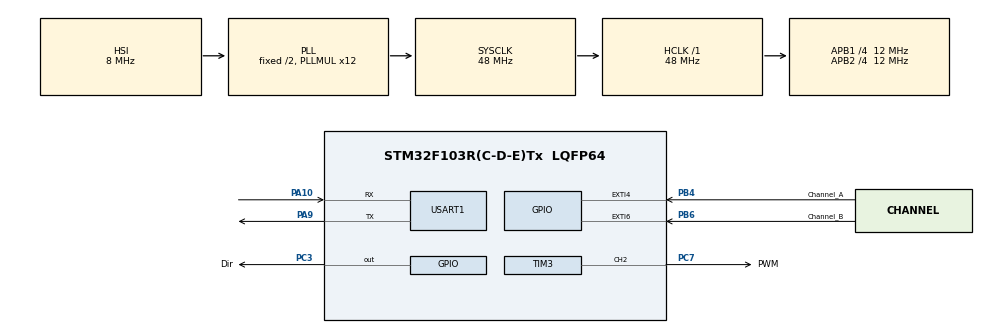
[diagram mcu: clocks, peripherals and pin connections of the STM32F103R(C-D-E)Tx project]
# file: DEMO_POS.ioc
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Mcu.Family=STM32F1
Mcu.Name=STM32F103R(C-D-E)Tx
Mcu.Package=LQFP64
NVIC.EXTI4_IRQn=true\:0\:0\:false\:false\:true\:true\:true\:true
NVIC.EXTI9_5_IRQn=true\:0\:0\:false\:false\:true\:true\:true\:true
NVIC.PriorityGroup=NVIC_PRIORITYGROUP_4
NVIC.TIM4_IRQn=true\:0\:0\:false\:false\:true\:true\:true\:true
NVIC.TIM5_IRQn=true\:0\:0\:false\:false\:true\:true\:true\:true
NVIC.USART1_IRQn=true\:0\:0\:false\:false\:true\:true\:true\:true
PA10.Mode=Asynchronous
PA10.Signal=USART1_RX
PA13.Mode=Serial_Wire
PA13.Signal=SYS_JTMS-SWDIO
PA14.Mode=Serial_Wire
PA14.Signal=SYS_JTCK-SWCLK
PA9.Mode=Asynchronous
PA9.Signal=USART1_TX
PB4.GPIO_Label=Channel_A
PB4.GPIO_ModeDefaultEXTI=GPIO_MODE_IT_RISING_FALLING
PB4.GPIO_PuPd=GPIO_PULLUP
PB4.Signal=GPXTI4
PB6.GPIO_Label=Channel_B
PB6.GPIO_ModeDefaultEXTI=GPIO_MODE_IT_RISING_FALLING
PB6.GPIO_PuPd=GPIO_PULLUP
PB6.Signal=GPXTI6
PC3.GPIO_Label=Dir
PC3.Signal=GPIO_Output
PC7.GPIO_Label=PWM
PC7.Signal=S_TIM3_CH2
ProjectManager.HeapSize=0x200
ProjectManager.StackSize=0x400
ProjectManager.TargetToolchain=MDK-ARM V5.32
RCC.AHBFreq_Value=48000000
RCC.APB1CLKDivider=RCC_HCLK_DIV4
RCC.APB1Freq_Value=12000000
RCC.APB1TimFreq_Value=24000000
RCC.APB2CLKDivider=RCC_HCLK_DIV4
RCC.APB2Freq_Value=12000000
RCC.APB2TimFreq_Value=24000000
RCC.HCLKFreq_Value=48000000
RCC.PLLMUL=RCC_PLL_MUL12
RCC.SYSCLKFreq_VALUE=48000000
RCC.SYSCLKSource=RCC_SYSCLKSOURCE_PLLCLK
RCC.USBFreq_Value=48000000
SH.S_TIM3_CH2.0=TIM3_CH2,PWM Generation2 CH2
TIM3.Channel-PWM\ Generation2\ CH2=TIM_CHANNEL_2
TIM3.Period=100
TIM3.Prescaler=11
TIM4.Period=4
TIM4.Prescaler=23999
TIM5.Period=9
TIM5.Prescaler=23999
USART1.VirtualMode=VM_ASYNC
VP_TIM4_VS_ClockSourceINT.Mode=Internal
VP_TIM5_VS_ClockSourceINT.Mode=Internal
board=custom

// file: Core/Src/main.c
/* USER CODE BEGIN Header */
/**
  ******************************************************************************
  * @file           : main.c
  * @brief          : Main program body
  ******************************************************************************
  * @attention
  *
  * Copyright (c) 2023 STMicroelectronics.
  * All rights reserved.
  *
  * This software is licensed under terms that can be found in the LICENSE file
  * in the root directory of this software component.
  * If no LICENSE file comes with this software, it is provided AS-IS.
  *
  ******************************************************************************
  */
/* USER CODE END Header */
#include "main.h"

/* USER CODE BEGIN Includes */
#include <stdio.h>
#include <string.h>
#include <stdlib.h>
#include <stdbool.h>
/* USER CODE END Includes */

/* USER CODE BEGIN PD */
#define pi 3.1415
#define p2r pi/1000
#define PULSE_PER_ROUND 500
/* USER CODE END PD */

TIM_HandleTypeDef htim3;
TIM_HandleTypeDef htim4;
TIM_HandleTypeDef htim5;

UART_HandleTypeDef huart1;

/* USER CODE BEGIN PV */
int32_t PosCnt,Cnttmp,speed;
int16_t CountValue=0,RealVel,DesiredSpeed, pwm;
uint16_t AngPos1, AngPos0,CntVel;
uint8_t PreviousState,Speedmode,tick_tim4=0, tick_tim5=0, dir;
bool run = false;
float CurPos=0,DesiredPos,CurVel, DesiredVel, DesiredLength, CurLength;
char Rx_indx, Rx_Buffer[20],Rx_data[2];

// PID parameter //
const float Kp = 19.811;
const float Ki = 0;
const float Kb = 0;
const float Kd = 0.64627;
const float alpha = 0.1; //He so loc khau D
const float Ts = 0.005;
const int16_t HILIM = 20;
const int16_t LOLIM = 0;
/* USER CODE END PV */

void SystemClock_Config(void);
static void MX_GPIO_Init(void);
static void MX_TIM3_Init(void);
static void MX_TIM4_Init(void);
static void MX_TIM5_Init(void);
static void MX_USART1_UART_Init(void);
/* USER CODE BEGIN PFP */
int16_t PID_Controller(float desired_value, float current_value);
void Run_Motor(void);
/* USER CODE END PFP */

/* USER CODE BEGIN 0 */
/*----------------------------------- UART1 -----------------------------------*/
struct __FILE
{
	int handle;
	/* Whatever you require here. If the only file you are using is */
  /* standard output using printf() for debugging, no file handling */
  /* is required. */
};

int fputc(int ch, FILE*f)
{
	char tempch = ch;

	HAL_UART_Transmit(&huart1, (uint8_t*)&tempch, 1, 100);
	return ch;
}

void HAL_UART_RxCpltCallback(UART_HandleTypeDef *huart)
{
	uint8_t i;
	if(huart->Instance == USART1) //uart1
		{
			if(Rx_indx==0)
				for (i=0;i<20;i++) Rx_Buffer[i] = 0;

			switch(Rx_data[0])
			{
				/* dung dong co */
				case 'e':
					run = false;
					break;

        /* dong co chay */
        case 'r':
          run = true;
          break;
        case 'b':
  				//reset();
					break;
        case 's':
          //DesiredPos = atoi(Rx_Buffer);
					DesiredLength = atoi(Rx_Buffer);
					DesiredLength = -DesiredLength;
					DesiredPos = DesiredLength*2*pi/10; //DesiredLength*2*pi/10;
          memset(Rx_Buffer, 0, sizeof(Rx_Buffer));
          Rx_indx = 0;
          break;
        case 'v':
          DesiredSpeed = atoi(Rx_Buffer);
					DesiredVel = DesiredSpeed * pi/30; //rad/s
          memset(Rx_Buffer, 0, sizeof(Rx_Buffer));
          Rx_indx = 0;
          break;
        case '0':
        case '1':
        case '2':
        case '3':
        case '4':
        case '5':
        case '6':
        case '7':
        case '8':
        case '9':
        case '.':
        case '-':
					Rx_Buffer[Rx_indx++] |= Rx_data[0];
					break;
				default:
					break;
			}
			HAL_UART_Receive_IT(&huart1,(uint8_t*)Rx_data,1);
		}
}
/*------------------------------- KET THUC UART1 -------------------------------*/
void HAL_GPIO_EXTI_Callbaack(uint16_t GPIO_Pin){}
/*--------------------------- NGAT NGOAI HAI KENH A B --------------------------*/
void HAL_GPIO_EXTI_Callback(uint16_t GPIO_Pin)
{
	if (GPIO_Pin == Channel_B_Pin)
	{
		unsigned char State0;
		State0 = (State0<<1) | HAL_GPIO_ReadPin(Channel_A_GPIO_Port, Channel_A_Pin);
		State0= (State0<<1) | HAL_GPIO_ReadPin(Channel_B_GPIO_Port, Channel_B_Pin);
		State0 = State0&0x03;
		switch (State0) {
			case 0:
				if(PreviousState==1) CountValue++;
				else CountValue--;
			break;
			case 1:
				if(PreviousState==3) CountValue++;
				else CountValue--;
			break;
			case 2:
				if(PreviousState==0) CountValue++;
				else CountValue--;
			break;
			case 3:
				if(PreviousState==2) CountValue++;
				else CountValue--;
			break;
			}
		PreviousState = State0;
		CntVel++;
		if (CountValue>=2000) {
			CountValue = 0;
			PosCnt++;
		}
		else if	(CountValue<=-2000) {
			CountValue = 0;
			PosCnt--;
		}
	}
	if (GPIO_Pin == Channel_A_Pin)
	{
		unsigned char State1;
		State1 = (State1<<1) | HAL_GPIO_ReadPin(Channel_A_GPIO_Port, Channel_A_Pin);
		State1 = (State1<<1) | HAL_GPIO_ReadPin(Channel_B_GPIO_Port, Channel_B_Pin);
		State1 = State1&0x03;
		switch (State1) {
			case 0:
				if(PreviousState==1) CountValue++;
				else CountValue--;
			break;
			case 1:
				if(PreviousState==3) CountValue++;
				else CountValue--;
			break;
			case 2:
				if(PreviousState==0) CountValue++;
				else CountValue--;
			break;
			case 3:
				if(PreviousState==2) CountValue++;
				else CountValue--;
			break;
			}
		PreviousState = State1;
		CntVel++;
		if (CountValue>=2000) {
			CountValue = 0;
			PosCnt++;
		}
		else if	(CountValue<=-2000) {
			CountValue = 0;
			PosCnt--;
		}
	}
}
/*---------------------- KET THUC NGAT NGOAI HAI KENH A B ----------------------*/

/*----------------------- TIMER4 - VAN TOC, VI TRI, PD CONTROLLER ------------------------*/
void HAL_TIM_PeriodElapsedCallback(TIM_HandleTypeDef *htim)
{
	if (htim->Instance == TIM4) //Interrupt 5ms
	{
			CurPos = PosCnt*2*pi+CountValue*p2r;	// Position calculation
			CurLength = 10*CurPos/(2*pi); //10*CurPos/(2*pi);
			Cnttmp = CntVel;
			CntVel = 0;
			RealVel = (Cnttmp*60)/(4*PULSE_PER_ROUND*Ts); //RPM
			CurVel = (Cnttmp*2*pi)/(4*PULSE_PER_ROUND*Ts); //rad/s

			if (run == true) {
//				HAL_GPIO_WritePin(Dir_GPIO_Port, Dir_Pin, GPIO_PIN_SET);
//				__HAL_TIM_SetCompare(&htim3, TIM_CHANNEL_2, pwm);
				pwm = PID_Controller(DesiredPos, CurPos);
				Run_Motor();
			}
			else
				__HAL_TIM_SetCompare(&htim3, TIM_CHANNEL_2, 0);
	}
	if (htim->Instance == TIM5) //Interrupt 10ms
	{
			tick_tim5++;
			if ((run == 1)&&(tick_tim5 == 5))
			{
				tick_tim5 = 0;
				//printf("V%d\r \n",RealVel);
				//printf("P%f\r \n",CurPos);
				printf("P%f\r \n",-CurLength);
			}
	}
}

void Run_Motor(void)
{
	if (dir == 1) //Chieu thuan
	{
		HAL_GPIO_WritePin(Dir_GPIO_Port, Dir_Pin, GPIO_PIN_SET);
		__HAL_TIM_SetCompare(&htim3, TIM_CHANNEL_2, pwm);
	}
	else if (dir == 2) //Chieu nghich
	{
		HAL_GPIO_WritePin(Dir_GPIO_Port, Dir_Pin, GPIO_PIN_RESET);
		__HAL_TIM_SetCompare(&htim3, TIM_CHANNEL_2, pwm);
	}
	else if (dir == 0) //Dung
		__HAL_TIM_SetCompare(&htim3, TIM_CHANNEL_2, 0);
}

int16_t PID_Controller(float desired_value, float current_value)
{
	static float e_reset;
	static float u_i_pre;
	static float u_df_pre;
	static float ek_pre;

	float ek;
	float u_p, u_i, u_k, u_d, u_df;
	int16_t u_out;

	//Tinh sai so
	ek = desired_value - current_value;

	if (ek > 0)
	{
		dir = 1; //Chieu thuan
	}
	else if (ek < 0)
	{
		dir = 2; //Chieu nghich
		ek = -ek;
	}
	else
		dir = 0; //Stop

	//Khau P
	u_p = Kp*ek;

	//Khau I
	u_i = u_i_pre + Ki*Ts*ek + Kb*Ts*e_reset;
	u_i_pre = u_i;

	//Khau D
	u_d = Kd*(ek-ek_pre)/Ts;
	ek_pre = ek;
	u_df = (1-alpha)*u_df_pre + alpha*u_d;
	u_df_pre = u_df;

	//PID Controller
	u_k = u_p + u_i + u_df;

	if (u_k > HILIM) {
		u_out = HILIM;
		e_reset = u_out - u_k;
	}
	else if (u_k < LOLIM) {
		u_out = LOLIM;
		e_reset = u_out - u_k;
	}
	else {
		u_out = (int16_t)u_k;
		e_reset = 0;
	}

	return u_out;
}

/*------------------- KET THUC TIMER4 - VAN TOC, VI TRI, PD CONTROLLER -------------------*/

/* USER CODE END 0 */

int main(void)
{

  /* MCU Configuration--------------------------------------------------------*/

  /* Reset of all peripherals, Initializes the Flash interface and the Systick. */
  HAL_Init();

  /* Configure the system clock */
  SystemClock_Config();

  /* Initialize all configured peripherals */
  MX_GPIO_Init();
  MX_TIM3_Init();
  MX_TIM4_Init();
  MX_TIM5_Init();
  MX_USART1_UART_Init();
  /* USER CODE BEGIN 2 */
	HAL_TIM_Base_Start_IT(&htim4); //Timer 4 interrupt 5ms
	HAL_TIM_Base_Start_IT(&htim5); //Timer 5 interrupt 10ms
	HAL_TIM_PWM_Start(&htim3, TIM_CHANNEL_2); //Timer tao pwm
	HAL_UART_Receive_IT(&huart1,(uint8_t*)Rx_data,1);
  /* USER CODE END 2 */

  /* Infinite loop */
  while (1)
  {

  }
}

void SystemClock_Config(void)
{
  RCC_OscInitTypeDef RCC_OscInitStruct = {0};
  RCC_ClkInitTypeDef RCC_ClkInitStruct = {0};

  /** Initializes the RCC Oscillators according to the specified parameters
  * in the RCC_OscInitTypeDef structure.
  */
  RCC_OscInitStruct.OscillatorType = RCC_OSCILLATORTYPE_HSI;
  RCC_OscInitStruct.HSIState = RCC_HSI_ON;
  RCC_OscInitStruct.HSICalibrationValue = RCC_HSICALIBRATION_DEFAULT;
  RCC_OscInitStruct.PLL.PLLState = RCC_PLL_ON;
  RCC_OscInitStruct.PLL.PLLSource = RCC_PLLSOURCE_HSI_DIV2;
  RCC_OscInitStruct.PLL.PLLMUL = RCC_PLL_MUL12;
  if (HAL_RCC_OscConfig(&RCC_OscInitStruct) != HAL_OK)
  {
    Error_Handler();
  }

  /** Initializes the CPU, AHB and APB buses clocks
  */
  RCC_ClkInitStruct.ClockType = RCC_CLOCKTYPE_HCLK|RCC_CLOCKTYPE_SYSCLK
                              |RCC_CLOCKTYPE_PCLK1|RCC_CLOCKTYPE_PCLK2;
  RCC_ClkInitStruct.SYSCLKSource = RCC_SYSCLKSOURCE_PLLCLK;
  RCC_ClkInitStruct.AHBCLKDivider = RCC_SYSCLK_DIV1;
  RCC_ClkInitStruct.APB1CLKDivider = RCC_HCLK_DIV4;
  RCC_ClkInitStruct.APB2CLKDivider = RCC_HCLK_DIV4;

  if (HAL_RCC_ClockConfig(&RCC_ClkInitStruct, FLASH_LATENCY_1) != HAL_OK)
  {
    Error_Handler();
  }
}

static void MX_TIM3_Init(void)
{

  TIM_MasterConfigTypeDef sMasterConfig = {0};
  TIM_OC_InitTypeDef sConfigOC = {0};

  htim3.Instance = TIM3;
  htim3.Init.Prescaler = 11;
  htim3.Init.CounterMode = TIM_COUNTERMODE_UP;
  htim3.Init.Period = 100;
  htim3.Init.ClockDivision = TIM_CLOCKDIVISION_DIV1;
  htim3.Init.AutoReloadPreload = TIM_AUTORELOAD_PRELOAD_DISABLE;
  if (HAL_TIM_PWM_Init(&htim3) != HAL_OK)
  {
    Error_Handler();
  }
  sMasterConfig.MasterOutputTrigger = TIM_TRGO_RESET;
  sMasterConfig.MasterSlaveMode = TIM_MASTERSLAVEMODE_DISABLE;
  if (HAL_TIMEx_MasterConfigSynchronization(&htim3, &sMasterConfig) != HAL_OK)
  {
    Error_Handler();
  }
  sConfigOC.OCMode = TIM_OCMODE_PWM1;
  sConfigOC.Pulse = 0;
  sConfigOC.OCPolarity = TIM_OCPOLARITY_HIGH;
  sConfigOC.OCFastMode = TIM_OCFAST_DISABLE;
  if (HAL_TIM_PWM_ConfigChannel(&htim3, &sConfigOC, TIM_CHANNEL_2) != HAL_OK)
  {
    Error_Handler();
  }
  HAL_TIM_MspPostInit(&htim3);

}

static void MX_TIM4_Init(void)
{

  TIM_ClockConfigTypeDef sClockSourceConfig = {0};
  TIM_MasterConfigTypeDef sMasterConfig = {0};

  htim4.Instance = TIM4;
  htim4.Init.Prescaler = 23999;
  htim4.Init.CounterMode = TIM_COUNTERMODE_UP;
  htim4.Init.Period = 4;
  htim4.Init.ClockDivision = TIM_CLOCKDIVISION_DIV1;
  htim4.Init.AutoReloadPreload = TIM_AUTORELOAD_PRELOAD_DISABLE;
  if (HAL_TIM_Base_Init(&htim4) != HAL_OK)
  {
    Error_Handler();
  }
  sClockSourceConfig.ClockSource = TIM_CLOCKSOURCE_INTERNAL;
  if (HAL_TIM_ConfigClockSource(&htim4, &sClockSourceConfig) != HAL_OK)
  {
    Error_Handler();
  }
  sMasterConfig.MasterOutputTrigger = TIM_TRGO_RESET;
  sMasterConfig.MasterSlaveMode = TIM_MASTERSLAVEMODE_DISABLE;
  if (HAL_TIMEx_MasterConfigSynchronization(&htim4, &sMasterConfig) != HAL_OK)
  {
    Error_Handler();
  }

}

static void MX_TIM5_Init(void)
{

  TIM_ClockConfigTypeDef sClockSourceConfig = {0};
  TIM_MasterConfigTypeDef sMasterConfig = {0};

  htim5.Instance = TIM5;
  htim5.Init.Prescaler = 23999;
  htim5.Init.CounterMode = TIM_COUNTERMODE_UP;
  htim5.Init.Period = 9;
  htim5.Init.ClockDivision = TIM_CLOCKDIVISION_DIV1;
  htim5.Init.AutoReloadPreload = TIM_AUTORELOAD_PRELOAD_DISABLE;
  if (HAL_TIM_Base_Init(&htim5) != HAL_OK)
  {
    Error_Handler();
  }
  sClockSourceConfig.ClockSource = TIM_CLOCKSOURCE_INTERNAL;
  if (HAL_TIM_ConfigClockSource(&htim5, &sClockSourceConfig) != HAL_OK)
  {
    Error_Handler();
  }
  sMasterConfig.MasterOutputTrigger = TIM_TRGO_RESET;
  sMasterConfig.MasterSlaveMode = TIM_MASTERSLAVEMODE_DISABLE;
  if (HAL_TIMEx_MasterConfigSynchronization(&htim5, &sMasterConfig) != HAL_OK)
  {
    Error_Handler();
  }

}

static void MX_USART1_UART_Init(void)
{

  huart1.Instance = USART1;
  huart1.Init.BaudRate = 115200;
  huart1.Init.WordLength = UART_WORDLENGTH_8B;
  huart1.Init.StopBits = UART_STOPBITS_1;
  huart1.Init.Parity = UART_PARITY_NONE;
  huart1.Init.Mode = UART_MODE_TX_RX;
  huart1.Init.HwFlowCtl = UART_HWCONTROL_NONE;
  huart1.Init.OverSampling = UART_OVERSAMPLING_16;
  if (HAL_UART_Init(&huart1) != HAL_OK)
  {
    Error_Handler();
  }

}

static void MX_GPIO_Init(void)
{
  GPIO_InitTypeDef GPIO_InitStruct = {0};

  /* GPIO Ports Clock Enable */
  __HAL_RCC_GPIOC_CLK_ENABLE();
  __HAL_RCC_GPIOA_CLK_ENABLE();
  __HAL_RCC_GPIOB_CLK_ENABLE();

  /*Configure GPIO pin Output Level */
  HAL_GPIO_WritePin(Dir_GPIO_Port, Dir_Pin, GPIO_PIN_RESET);

  /*Configure GPIO pin : Dir_Pin */
  GPIO_InitStruct.Pin = Dir_Pin;
  GPIO_InitStruct.Mode = GPIO_MODE_OUTPUT_PP;
  GPIO_InitStruct.Pull = GPIO_NOPULL;
  GPIO_InitStruct.Speed = GPIO_SPEED_FREQ_LOW;
  HAL_GPIO_Init(Dir_GPIO_Port, &GPIO_InitStruct);

  /*Configure GPIO pins : Channel_A_Pin Channel_B_Pin */
  GPIO_InitStruct.Pin = Channel_A_Pin|Channel_B_Pin;
  GPIO_InitStruct.Mode = GPIO_MODE_IT_RISING_FALLING;
  GPIO_InitStruct.Pull = GPIO_PULLUP;
  HAL_GPIO_Init(GPIOB, &GPIO_InitStruct);

  /* EXTI interrupt init*/
  HAL_NVIC_SetPriority(EXTI4_IRQn, 0, 0);
  HAL_NVIC_EnableIRQ(EXTI4_IRQn);

  HAL_NVIC_SetPriority(EXTI9_5_IRQn, 0, 0);
  HAL_NVIC_EnableIRQ(EXTI9_5_IRQn);

}

void Error_Handler(void)
{
  __disable_irq();
  while (1)
  {
  }
}
